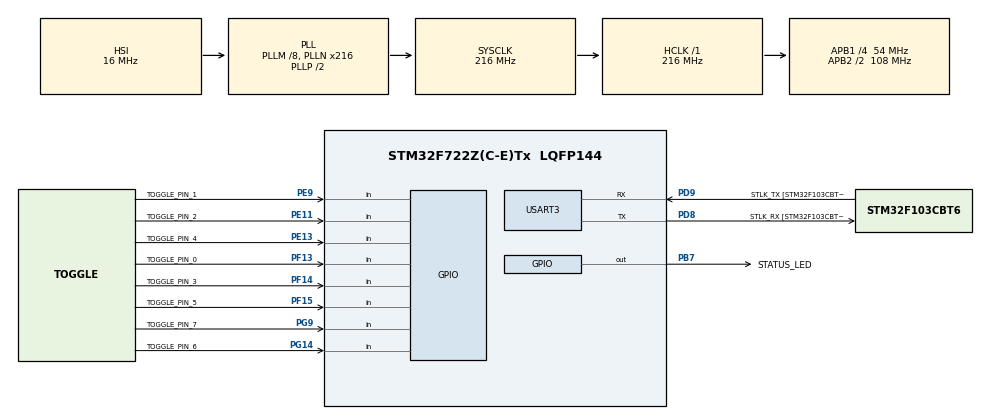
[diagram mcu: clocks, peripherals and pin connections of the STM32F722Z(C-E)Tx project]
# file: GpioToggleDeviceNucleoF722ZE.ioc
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Mcu.Family=STM32F7
Mcu.Name=STM32F722Z(C-E)Tx
Mcu.Package=LQFP144
NVIC.PriorityGroup=NVIC_PRIORITYGROUP_4
NVIC.USART3_IRQn=true\:0\:0\:false\:false\:true\:true\:true
PA13.GPIO_Label=TMS
PA13.Mode=Trace_Asynchronous_SW
PA13.Signal=SYS_JTMS-SWDIO
PA14.GPIO_Label=TCK
PA14.Mode=Trace_Asynchronous_SW
PA14.Signal=SYS_JTCK-SWCLK
PB3.GPIO_Label=SWO
PB3.Mode=Trace_Asynchronous_SW
PB3.Signal=SYS_JTDO-SWO
PB7.GPIO_Label=STATUS_LED
PB7.Signal=GPIO_Output
PD8.GPIO_Label=STLK_RX [STM32F103CBT6_PA3]
PD8.Mode=Asynchronous
PD8.Signal=USART3_TX
PD9.GPIO_Label=STLK_TX [STM32F103CBT6_PA2]
PD9.Mode=Asynchronous
PD9.Signal=USART3_RX
PE11.GPIO_Label=TOGGLE_PIN_2
PE11.Signal=GPIO_Input
PE13.GPIO_Label=TOGGLE_PIN_4
PE13.Signal=GPIO_Input
PE9.GPIO_Label=TOGGLE_PIN_1
PE9.Signal=GPIO_Input
PF13.GPIO_Label=TOGGLE_PIN_0
PF13.Signal=GPIO_Input
PF14.GPIO_Label=TOGGLE_PIN_3
PF14.Signal=GPIO_Input
PF15.GPIO_Label=TOGGLE_PIN_5
PF15.Signal=GPIO_Input
PG14.GPIO_Label=TOGGLE_PIN_6
PG14.Signal=GPIO_Input
PG9.GPIO_Label=TOGGLE_PIN_7
PG9.Signal=GPIO_Input
ProjectManager.HeapSize=0x200
ProjectManager.StackSize=0x400
ProjectManager.TargetToolchain=STM32CubeIDE
RCC.48MHZClocksFreq_Value=24000000
RCC.AHBFreq_Value=216000000
RCC.APB1CLKDivider=RCC_HCLK_DIV4
RCC.APB1Freq_Value=54000000
RCC.APB1TimFreq_Value=108000000
RCC.APB2CLKDivider=RCC_HCLK_DIV2
RCC.APB2Freq_Value=108000000
RCC.APB2TimFreq_Value=216000000
RCC.CortexFreq_Value=216000000
RCC.HCLKFreq_Value=216000000
RCC.HSE_VALUE=25000000
RCC.HSI_VALUE=16000000
RCC.LSE_VALUE=32768
RCC.PLLM=8
RCC.PLLMUL=RCC_PLL_MUL9
RCC.PLLN=216
RCC.PRESCALERUSB=RCC_USBCLKSOURCE_PLL_DIV1_5
RCC.SYSCLKFreq_VALUE=216000000
RCC.SYSCLKSource=RCC_SYSCLKSOURCE_PLLCLK
RCC.SYSCLKSourceVirtual=RCC_SYSCLKSOURCE_PLLCLK
RCC.USBFreq_Value=216000000
RCC.VCOOutputFreq_Value=432000000
USART3.VirtualMode-Asynchronous=VM_ASYNC
board=NUCLEO-F722ZE

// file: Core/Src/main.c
/* USER CODE BEGIN Header */
/**
  ******************************************************************************
  * @file           : main.c
  * @brief          : Main program body
  ******************************************************************************
  * @attention
  *
  * <h2><center>&copy; Copyright (c) 2020 STMicroelectronics.
  * All rights reserved.</center></h2>
  *
  * This software component is licensed by ST under BSD 3-Clause license,
  * the "License"; You may not use this file except in compliance with the
  * License. You may obtain a copy of the License at:
  *                        opensource.org/licenses/BSD-3-Clause
  *
  ******************************************************************************
  */
/* USER CODE END Header */
#include "main.h"
#include "usart.h"
#include "gpio.h"

/* USER CODE BEGIN Includes */
#include "fifo.h"
#include "commandparser.h"
/* USER CODE END Includes */

/* USER CODE BEGIN PTD */
#define COMMANDLENGTH 	((uint32_t) 10000)
#define COMMANDLENGTHX2 ((uint32_t) 40000)

/* USER CODE END PTD */

void SystemClock_Config(void);
/* USER CODE BEGIN PFP */
void ExecuteTimedSequence();
void SetPersistentState();
void Release();
void EndSends();
void SendResponse(uint8_t _command);
void PinHigh(GPIO_TypeDef* _gpioPort, uint16_t _gpioPin);
void PinLow(GPIO_TypeDef* _gpioPort, uint16_t _gpioPin);
void PinReset(GPIO_TypeDef* _gpioPort, uint16_t _gpioPin);
void SetPin(uint8_t state, GPIO_TypeDef* _gpioPort, uint16_t _gpioPin);
/* USER CODE END PFP */

/* USER CODE BEGIN 0 */

uint8_t byte = 0;
uint8_t command = 0;
static uint8_t FifoBuffer[100];
struct Fifo g_fifo;
struct CommandParser g_commandParser;

static uint8_t pin0StateBuffer[COMMANDLENGTH];
static uint8_t pin1StateBuffer[COMMANDLENGTH];
static uint8_t pin2StateBuffer[COMMANDLENGTH];
static uint8_t pin3StateBuffer[COMMANDLENGTH];
static uint8_t pin4StateBuffer[COMMANDLENGTH];
static uint8_t pin5StateBuffer[COMMANDLENGTH];
static uint8_t pin6StateBuffer[COMMANDLENGTH];
static uint8_t pin7StateBuffer[COMMANDLENGTH];
static uint8_t timeDelayBuffer[COMMANDLENGTHX2];

struct Fifo g_pin0Fifo;
struct Fifo g_pin1Fifo;
struct Fifo g_pin2Fifo;
struct Fifo g_pin3Fifo;
struct Fifo g_pin4Fifo;
struct Fifo g_pin5Fifo;
struct Fifo g_pin6Fifo;
struct Fifo g_pin7Fifo;
struct Fifo timeDelayFifo;

enum SyncBytes
{
	SyncByte1 = 0xA5,
	SyncByte2 = 0xC3
};

enum Commands
{
	c_Connect				= 0xA1,
	c_ExecuteTimedSequence 	= 0xB1,
	c_SetPersistentState 	= 0xB2,
	c_Release 				= 0xB3,
	c_EndSends 				= 0xB4
};

enum FireType
{
	FLOAT 		= 0x0,
	LOW 		= 0x1,
	HIGH 		= 0x2,
	NO_CHANGE 	= 0x3
};

/* USER CODE END 0 */

int main(void)
{

  /* MCU Configuration--------------------------------------------------------*/

  /* Reset of all peripherals, Initializes the Flash interface and the Systick. */
  HAL_Init();

  /* Configure the system clock */
  SystemClock_Config();

  /* Initialize all configured peripherals */
  MX_GPIO_Init();
  MX_USART3_UART_Init();
  /* USER CODE BEGIN 2 */
  Fifo_init(&g_fifo, FifoBuffer, 100);
  CommandParser_init(&g_commandParser, &g_fifo, SyncByte1, SyncByte2);

  Fifo_init(&g_pin0Fifo, pin0StateBuffer, COMMANDLENGTH);
  Fifo_init(&g_pin1Fifo, pin1StateBuffer, COMMANDLENGTH);
  Fifo_init(&g_pin2Fifo, pin2StateBuffer, COMMANDLENGTH);
  Fifo_init(&g_pin3Fifo, pin3StateBuffer, COMMANDLENGTH);
  Fifo_init(&g_pin4Fifo, pin4StateBuffer, COMMANDLENGTH);
  Fifo_init(&g_pin5Fifo, pin5StateBuffer, COMMANDLENGTH);
  Fifo_init(&g_pin6Fifo, pin6StateBuffer, COMMANDLENGTH);
  Fifo_init(&g_pin7Fifo, pin7StateBuffer, COMMANDLENGTH);

  Fifo_init(&timeDelayFifo, timeDelayBuffer, COMMANDLENGTHX2);

  HAL_UART_Receive_IT(&huart3, &byte, 1);

  /* USER CODE END 2 */

  /* Infinite loop */
  /* USER CODE BEGIN WHILE */

  uint8_t counter = 0;
  while (1)
  {
    /* USER CODE END WHILE */

    /* USER CODE BEGIN 3 */

	  HAL_Delay(10);
	  counter++;

	  if(counter == 255)
	  {
		  HAL_GPIO_TogglePin(STATUS_LED_GPIO_Port, STATUS_LED_Pin);
	  }

	  command = CommandParser_getCommand(&g_commandParser);

	  switch(command)
	  {
	  case c_Connect:
		  break;
	  case c_ExecuteTimedSequence:
		  ExecuteTimedSequence();
		  break;
	  case c_SetPersistentState:
		  SetPersistentState();
		  break;
	  case c_Release:
		  Release();
		  break;
	  case c_EndSends:
		  EndSends();
		  break;
	  default:
		  break;
	  }
  }
  /* USER CODE END 3 */
}

void SystemClock_Config(void)
{
  RCC_OscInitTypeDef RCC_OscInitStruct = {0};
  RCC_ClkInitTypeDef RCC_ClkInitStruct = {0};
  RCC_PeriphCLKInitTypeDef PeriphClkInitStruct = {0};

  /** Configure the main internal regulator output voltage
  */
  __HAL_RCC_PWR_CLK_ENABLE();
  __HAL_PWR_VOLTAGESCALING_CONFIG(PWR_REGULATOR_VOLTAGE_SCALE1);
  /** Initializes the RCC Oscillators according to the specified parameters
  * in the RCC_OscInitTypeDef structure.
  */
  RCC_OscInitStruct.OscillatorType = RCC_OSCILLATORTYPE_HSI;
  RCC_OscInitStruct.HSIState = RCC_HSI_ON;
  RCC_OscInitStruct.HSICalibrationValue = RCC_HSICALIBRATION_DEFAULT;
  RCC_OscInitStruct.PLL.PLLState = RCC_PLL_ON;
  RCC_OscInitStruct.PLL.PLLSource = RCC_PLLSOURCE_HSI;
  RCC_OscInitStruct.PLL.PLLM = 8;
  RCC_OscInitStruct.PLL.PLLN = 216;
  RCC_OscInitStruct.PLL.PLLP = RCC_PLLP_DIV2;
  RCC_OscInitStruct.PLL.PLLQ = 2;
  if (HAL_RCC_OscConfig(&RCC_OscInitStruct) != HAL_OK)
  {
    Error_Handler();
  }
  /** Activate the Over-Drive mode
  */
  if (HAL_PWREx_EnableOverDrive() != HAL_OK)
  {
    Error_Handler();
  }
  /** Initializes the CPU, AHB and APB buses clocks
  */
  RCC_ClkInitStruct.ClockType = RCC_CLOCKTYPE_HCLK|RCC_CLOCKTYPE_SYSCLK
                              |RCC_CLOCKTYPE_PCLK1|RCC_CLOCKTYPE_PCLK2;
  RCC_ClkInitStruct.SYSCLKSource = RCC_SYSCLKSOURCE_PLLCLK;
  RCC_ClkInitStruct.AHBCLKDivider = RCC_SYSCLK_DIV1;
  RCC_ClkInitStruct.APB1CLKDivider = RCC_HCLK_DIV4;
  RCC_ClkInitStruct.APB2CLKDivider = RCC_HCLK_DIV2;

  if (HAL_RCC_ClockConfig(&RCC_ClkInitStruct, FLASH_LATENCY_7) != HAL_OK)
  {
    Error_Handler();
  }
  PeriphClkInitStruct.PeriphClockSelection = RCC_PERIPHCLK_USART3;
  PeriphClkInitStruct.Usart3ClockSelection = RCC_USART3CLKSOURCE_PCLK1;
  if (HAL_RCCEx_PeriphCLKConfig(&PeriphClkInitStruct) != HAL_OK)
  {
    Error_Handler();
  }
}

/* USER CODE BEGIN 4 */
void HAL_UART_RxCpltCallback(UART_HandleTypeDef *huart)
{
	if(huart == &huart3)
	{
		Fifo_push(&g_fifo, byte);
		HAL_UART_Receive_IT(&huart3, &byte, 1);
	}
}

void ExecuteTimedSequence()
{
	uint8_t byte = 0;

	Fifo_pop(&g_fifo);

	byte = Fifo_pop(&g_fifo);
	Fifo_push(&timeDelayFifo, byte);
	byte = Fifo_pop(&g_fifo);
	Fifo_push(&timeDelayFifo, byte);
	byte = Fifo_pop(&g_fifo);
	Fifo_push(&timeDelayFifo, byte);
	byte = Fifo_pop(&g_fifo);
	Fifo_push(&timeDelayFifo, byte);

	byte = Fifo_pop(&g_fifo);
	Fifo_push(&g_pin0Fifo, byte);

	byte = Fifo_pop(&g_fifo);
	Fifo_push(&g_pin1Fifo, byte);

	byte = Fifo_pop(&g_fifo);
	Fifo_push(&g_pin2Fifo, byte);

	byte = Fifo_pop(&g_fifo);
	Fifo_push(&g_pin3Fifo, byte);

	byte = Fifo_pop(&g_fifo);
	Fifo_push(&g_pin4Fifo, byte);

	byte = Fifo_pop(&g_fifo);
	Fifo_push(&g_pin5Fifo, byte);

	byte = Fifo_pop(&g_fifo);
	Fifo_push(&g_pin6Fifo, byte);

	byte = Fifo_pop(&g_fifo);
	Fifo_push(&g_pin7Fifo, byte);

	SendResponse(c_ExecuteTimedSequence);
}

void SetPersistentState()
{
	uint8_t state = 0x3;
	state = Fifo_pop(&g_fifo);
	SetPin(state, TOGGLE_PIN_0_GPIO_Port, TOGGLE_PIN_0_Pin);
	state = Fifo_pop(&g_fifo);
	SetPin(state, TOGGLE_PIN_1_GPIO_Port, TOGGLE_PIN_1_Pin);
	state = Fifo_pop(&g_fifo);
	SetPin(state, TOGGLE_PIN_2_GPIO_Port, TOGGLE_PIN_2_Pin);
	state = Fifo_pop(&g_fifo);
	SetPin(state, TOGGLE_PIN_3_GPIO_Port, TOGGLE_PIN_3_Pin);
	state = Fifo_pop(&g_fifo);
	SetPin(state, TOGGLE_PIN_4_GPIO_Port, TOGGLE_PIN_4_Pin);
	state = Fifo_pop(&g_fifo);
	SetPin(state, TOGGLE_PIN_5_GPIO_Port, TOGGLE_PIN_5_Pin);
	state = Fifo_pop(&g_fifo);
	SetPin(state, TOGGLE_PIN_6_GPIO_Port, TOGGLE_PIN_6_Pin);
	state = Fifo_pop(&g_fifo);
	SetPin(state, TOGGLE_PIN_7_GPIO_Port, TOGGLE_PIN_7_Pin);

	SendResponse(c_SetPersistentState);
}

void Release()
{
	PinReset(TOGGLE_PIN_0_GPIO_Port, TOGGLE_PIN_0_Pin);
	PinReset(TOGGLE_PIN_1_GPIO_Port, TOGGLE_PIN_1_Pin);
	PinReset(TOGGLE_PIN_2_GPIO_Port, TOGGLE_PIN_2_Pin);
	PinReset(TOGGLE_PIN_3_GPIO_Port, TOGGLE_PIN_3_Pin);
	PinReset(TOGGLE_PIN_4_GPIO_Port, TOGGLE_PIN_4_Pin);
	PinReset(TOGGLE_PIN_5_GPIO_Port, TOGGLE_PIN_5_Pin);
	PinReset(TOGGLE_PIN_6_GPIO_Port, TOGGLE_PIN_6_Pin);
	PinReset(TOGGLE_PIN_7_GPIO_Port, TOGGLE_PIN_7_Pin);

	SendResponse(c_Release);
}

void EndSends()
{
	SendResponse(c_EndSends);

	uint32_t timeDelay = 0;
	uint8_t byte1 = 0;
	uint8_t byte2 = 0;
	uint8_t byte3 = 0;
	uint8_t byte4 = 0;

	//the first time delay will always be zero so there is nothing to pop
	byte1 = Fifo_pop(&timeDelayFifo);
	byte2 = Fifo_pop(&timeDelayFifo);
	byte3 = Fifo_pop(&timeDelayFifo);
	byte4 = Fifo_pop(&timeDelayFifo);
	timeDelay = (byte4 << 24) | (byte3 << 16) | (byte2 << 8) | byte1;

	do
	{
		byte1 = Fifo_pop(&g_pin0Fifo);
		SetPin(byte1, TOGGLE_PIN_0_GPIO_Port, TOGGLE_PIN_0_Pin);

		byte1 = Fifo_pop(&g_pin1Fifo);
		SetPin(byte1, TOGGLE_PIN_1_GPIO_Port, TOGGLE_PIN_1_Pin);

		byte1 = Fifo_pop(&g_pin2Fifo);
		SetPin(byte1, TOGGLE_PIN_2_GPIO_Port, TOGGLE_PIN_2_Pin);

		byte1 = Fifo_pop(&g_pin3Fifo);
		SetPin(byte1, TOGGLE_PIN_3_GPIO_Port, TOGGLE_PIN_3_Pin);

		byte1 = Fifo_pop(&g_pin4Fifo);
		SetPin(byte1, TOGGLE_PIN_4_GPIO_Port, TOGGLE_PIN_4_Pin);

		byte1 = Fifo_pop(&g_pin5Fifo);
		SetPin(byte1, TOGGLE_PIN_5_GPIO_Port, TOGGLE_PIN_5_Pin);

		byte1 = Fifo_pop(&g_pin6Fifo);
		SetPin(byte1, TOGGLE_PIN_6_GPIO_Port, TOGGLE_PIN_6_Pin);

		byte1 = Fifo_pop(&g_pin7Fifo);
		SetPin(byte1, TOGGLE_PIN_7_GPIO_Port, TOGGLE_PIN_7_Pin);

		if(!Fifo_isEmpty(&timeDelayFifo))
		{
			byte1 = Fifo_pop(&timeDelayFifo);
			byte2 = Fifo_pop(&timeDelayFifo);
			byte3 = Fifo_pop(&timeDelayFifo);
			byte4 = Fifo_pop(&timeDelayFifo);
			timeDelay = (byte4 << 24) | (byte3 << 16) | (byte2 << 8) | byte1;

			HAL_Delay(timeDelay);
		}
	}while(!Fifo_isEmpty(&g_pin0Fifo));
}

void SendResponse(uint8_t _command)
{
	uint8_t response[3];
	response[0] = SyncByte1;
	response[1] = SyncByte2;
	response[2] = _command;

	HAL_UART_Transmit(&huart3, response, 3, HAL_MAX_DELAY);
}

void PinHigh(GPIO_TypeDef* _gpioPort, uint16_t _gpioPin)
{
	GPIO_InitTypeDef GPIO_InitStruct = {0};
	GPIO_InitStruct.Pin = _gpioPin;
	GPIO_InitStruct.Mode = GPIO_MODE_OUTPUT_PP;
	GPIO_InitStruct.Pull = GPIO_NOPULL;
	HAL_GPIO_Init(_gpioPort, &GPIO_InitStruct);
	HAL_GPIO_WritePin(_gpioPort, _gpioPin, GPIO_PIN_SET);
}

void PinLow(GPIO_TypeDef* _gpioPort, uint16_t _gpioPin)
{
	GPIO_InitTypeDef GPIO_InitStruct = {0};
	GPIO_InitStruct.Pin = _gpioPin;
	GPIO_InitStruct.Mode = GPIO_MODE_OUTPUT_PP;
	GPIO_InitStruct.Pull = GPIO_NOPULL;
	HAL_GPIO_Init(_gpioPort, &GPIO_InitStruct);
	HAL_GPIO_WritePin(_gpioPort, _gpioPin, GPIO_PIN_RESET);
}

void PinReset(GPIO_TypeDef* _gpioPort, uint16_t _gpioPin)
{
	GPIO_InitTypeDef GPIO_InitStruct = {0};
	GPIO_InitStruct.Pin = _gpioPin;
	GPIO_InitStruct.Mode = GPIO_MODE_INPUT;
	GPIO_InitStruct.Pull = GPIO_NOPULL;
	HAL_GPIO_Init(_gpioPort, &GPIO_InitStruct);
}

void SetPin(uint8_t state, GPIO_TypeDef* _gpioPort, uint16_t _gpioPin)
{
	switch(state)
	{
	case FLOAT:
		PinReset(_gpioPort, _gpioPin);
		break;
	case LOW:
		PinLow(_gpioPort, _gpioPin);
		break;
	case HIGH:
		PinHigh(_gpioPort, _gpioPin);
		break;
	case NO_CHANGE:
		break;
	}
}

/* USER CODE END 4 */

void Error_Handler(void)
{
}

/************************ (C) COPYRIGHT STMicroelectronics *****END OF FILE****/
